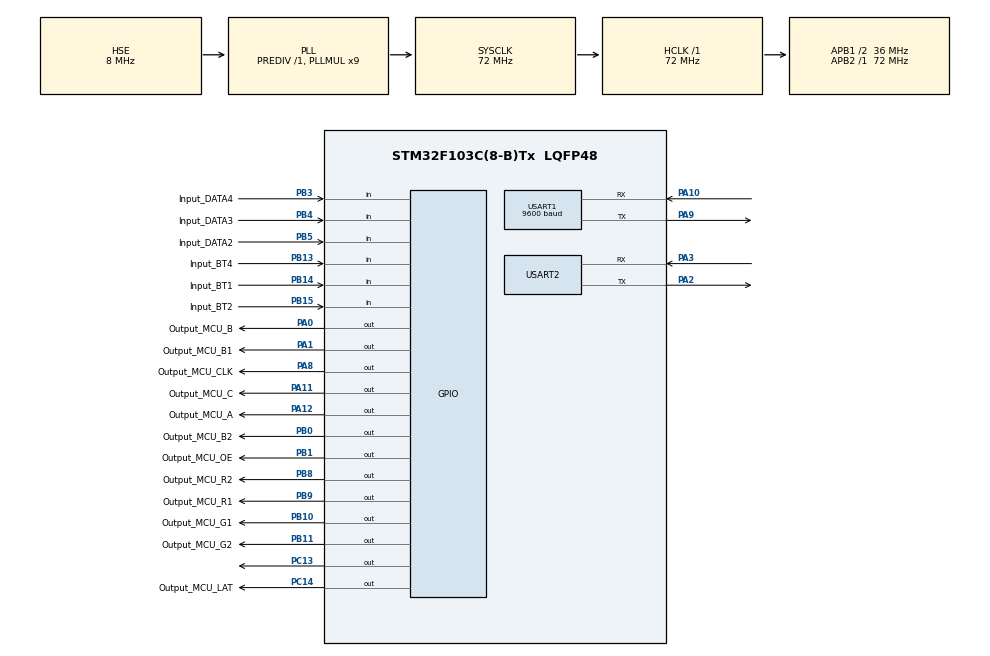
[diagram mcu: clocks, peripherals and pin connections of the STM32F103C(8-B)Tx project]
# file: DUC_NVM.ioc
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Mcu.Family=STM32F1
Mcu.Name=STM32F103C(8-B)Tx
Mcu.Package=LQFP48
NVIC.PriorityGroup=NVIC_PRIORITYGROUP_4
NVIC.TIM2_IRQn=true\:1\:0\:true\:false\:true\:true\:true\:true
PA0-WKUP.GPIO_Label=Output_MCU_B
PA0-WKUP.Signal=GPIO_Output
PA1.GPIO_Label=Output_MCU_B1
PA1.Signal=GPIO_Output
PA10.Mode=Asynchronous
PA10.Signal=USART1_RX
PA11.GPIO_Label=Output_MCU_C
PA11.Signal=GPIO_Output
PA12.GPIO_Label=Output_MCU_A
PA12.Signal=GPIO_Output
PA13.Mode=Serial_Wire
PA13.Signal=SYS_JTMS-SWDIO
PA14.Mode=Serial_Wire
PA14.Signal=SYS_JTCK-SWCLK
PA2.Mode=Asynchronous
PA2.Signal=USART2_TX
PA3.Mode=Asynchronous
PA3.Signal=USART2_RX
PA8.GPIO_Label=Output_MCU_CLK
PA8.Signal=GPIO_Output
PA9.Mode=Asynchronous
PA9.Signal=USART1_TX
PB0.GPIO_Label=Output_MCU_B2
PB0.Signal=GPIO_Output
PB1.GPIO_Label=Output_MCU_OE
PB1.Signal=GPIO_Output
PB10.GPIO_Label=Output_MCU_G1
PB10.Signal=GPIO_Output
PB11.GPIO_Label=Output_MCU_G2
PB11.GPIO_ModeDefaultOutputPP=GPIO_MODE_OUTPUT_PP
PB11.Signal=GPIO_Output
PB13.GPIO_Label=Input_BT4
PB13.GPIO_PuPd=GPIO_NOPULL
PB13.Signal=GPIO_Input
PB14.GPIO_Label=Input_BT1
PB14.GPIO_PuPd=GPIO_NOPULL
PB14.Signal=GPIO_Input
PB15.GPIO_Label=Input_BT2
PB15.GPIO_PuPd=GPIO_NOPULL
PB15.Signal=GPIO_Input
PB3.GPIO_Label=Input_DATA4
PB3.GPIO_PuPd=GPIO_NOPULL
PB3.Signal=GPIO_Input
PB4.GPIO_Label=Input_DATA3
PB4.GPIO_PuPd=GPIO_NOPULL
PB4.Signal=GPIO_Input
PB5.GPIO_Label=Input_DATA2
PB5.GPIO_PuPd=GPIO_NOPULL
PB5.Signal=GPIO_Input
PB8.GPIO_Label=Output_MCU_R2
PB8.Signal=GPIO_Output
PB9.GPIO_Label=Output_MCU_R1
PB9.Signal=GPIO_Output
PC13-TAMPER-RTC.Signal=GPIO_Output
PC14-OSC32_IN.GPIO_Label=Output_MCU_LAT
PC14-OSC32_IN.Signal=GPIO_Output
PD0-OSC_IN.Mode=HSE-External-Oscillator
PD0-OSC_IN.Signal=RCC_OSC_IN
PD1-OSC_OUT.Mode=HSE-External-Oscillator
PD1-OSC_OUT.Signal=RCC_OSC_OUT
ProjectManager.HeapSize=0x200
ProjectManager.StackSize=0x400
ProjectManager.TargetToolchain=MDK-ARM V5.27
RCC.AHBFreq_Value=72000000
RCC.APB1CLKDivider=RCC_HCLK_DIV2
RCC.APB1Freq_Value=36000000
RCC.APB1TimFreq_Value=72000000
RCC.APB2Freq_Value=72000000
RCC.APB2TimFreq_Value=72000000
RCC.HCLKFreq_Value=72000000
RCC.PLLMUL=RCC_PLL_MUL9
RCC.PLLSourceVirtual=RCC_PLLSOURCE_HSE
RCC.SYSCLKFreq_VALUE=72000000
RCC.SYSCLKSource=RCC_SYSCLKSOURCE_PLLCLK
RCC.USBFreq_Value=72000000
TIM2.Period=9
TIM2.Prescaler=7199
USART1.BaudRate=9600
USART1.VirtualMode=VM_ASYNC
USART2.VirtualMode=VM_ASYNC
VP_TIM2_VS_ClockSourceINT.Mode=Internal
board=custom

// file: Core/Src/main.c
/* USER CODE BEGIN Header */
/**
  ******************************************************************************
  * @file           : main.c
  * @brief          : Main program body
  ******************************************************************************
  * @attention
  *
  * Copyright (c) 2024 STMicroelectronics.
  * All rights reserved.
  *
  * This software is licensed under terms that can be found in the LICENSE file
  * in the root directory of this software component.
  * If no LICENSE file comes with this software, it is provided AS-IS.
  *
  ******************************************************************************
  */
/* USER CODE END Header */
#include "main.h"

/* USER CODE BEGIN Includes */
#include "JQ8400_FL.h"
#include "bsp.h"
#include "apl.h"
#include "displayDriver.h"
#include "flash.h"

/* USER CODE END Includes */

TIM_HandleTypeDef htim2;

UART_HandleTypeDef huart1;
UART_HandleTypeDef huart2;

/* USER CODE BEGIN PV */
uint32_t g_systick_1ms = 0U;
static uint32_t g_10ms_flg = 1U;
static uint32_t g_100ms_flg = 1U;
extern uint8_t BSP_DIN_short[7];
/* USER CODE END PV */

void SystemClock_Config(void);
static void MX_GPIO_Init(void);
static void MX_USART1_UART_Init(void);
static void MX_TIM2_Init(void);
static void MX_USART2_UART_Init(void);

/* USER CODE BEGIN 0 */
JQ8400_Name MP3;
uint8_t ver[10] = "0.1";
int fNum = 0 ;

void HAL_TIM_PeriodElapsedCallback(TIM_HandleTypeDef *htim)
{
	static uint32_t cnt_10ms = 0U, cnt_100ms = 0U;
	UNUSED(htim);
	//Process
	#if (REFRESH_MODE==1)
	if(htim->Instance==TIM2)
	{
		HAL_TIM_Base_Stop_IT(&htim2);
		refreshDisplay();
		HAL_TIM_Base_Start_IT(&htim2);
	}
#endif
	g_systick_1ms++;
	 // Update 10ms:
        if (++cnt_10ms >= 10U) {
            cnt_10ms = 0U;
            g_10ms_flg = 1U;
            // Update 100ms:
            if (++cnt_100ms >= 10U) {
                cnt_100ms = 0U;
                g_100ms_flg = 1U;
						}
					}
}

/* USER CODE END 0 */

int main(void)
{

  /* MCU Configuration--------------------------------------------------------*/

  /* Reset of all peripherals, Initializes the Flash interface and the Systick. */
  HAL_Init();

  /* Configure the system clock */
  SystemClock_Config();

  /* Initialize all configured peripherals */
  MX_GPIO_Init();
  MX_USART1_UART_Init();
  MX_TIM2_Init();
  MX_USART2_UART_Init();
  /* USER CODE BEGIN 2 */
	HAL_TIM_Base_Start_IT(&htim2);
	BSP_din_init();
	APL_init();
	JQ8400_Init(&MP3,&huart1);
	JQ8400_SetVolume(&MP3,28);
//		#if (REFRESH_MODE==1)
//  htim2.Init.Period = 8329;  // thay doi de co tan so ngat la 120Hz
//  HAL_TIM_Base_Init(&htim2);
//  HAL_TIM_Base_Start_IT(&htim2);
//	#endif
//	HAL_UART_Transmit(&huart1,(uint8_t*) button8_short, sizeof(button8_short), 1000);
  /* USER CODE END 2 */

  /* Infinite loop */
  while (1)
  {

    /* USER CODE BEGIN 3 */
		if(g_10ms_flg==1)
		{

			g_10ms_flg=0;
		}
		APL_Manager();

//		JQ8400_PlaySong(&MP3,10);
//		HAL_Delay(5000);

  }
  /* USER CODE END 3 */
}

void SystemClock_Config(void)
{
  RCC_OscInitTypeDef RCC_OscInitStruct = {0};
  RCC_ClkInitTypeDef RCC_ClkInitStruct = {0};

  /** Initializes the RCC Oscillators according to the specified parameters
  * in the RCC_OscInitTypeDef structure.
  */
  RCC_OscInitStruct.OscillatorType = RCC_OSCILLATORTYPE_HSE;
  RCC_OscInitStruct.HSEState = RCC_HSE_ON;
  RCC_OscInitStruct.HSEPredivValue = RCC_HSE_PREDIV_DIV1;
  RCC_OscInitStruct.HSIState = RCC_HSI_ON;
  RCC_OscInitStruct.PLL.PLLState = RCC_PLL_ON;
  RCC_OscInitStruct.PLL.PLLSource = RCC_PLLSOURCE_HSE;
  RCC_OscInitStruct.PLL.PLLMUL = RCC_PLL_MUL9;
  if (HAL_RCC_OscConfig(&RCC_OscInitStruct) != HAL_OK)
  {
    Error_Handler();
  }

  /** Initializes the CPU, AHB and APB buses clocks
  */
  RCC_ClkInitStruct.ClockType = RCC_CLOCKTYPE_HCLK|RCC_CLOCKTYPE_SYSCLK
                              |RCC_CLOCKTYPE_PCLK1|RCC_CLOCKTYPE_PCLK2;
  RCC_ClkInitStruct.SYSCLKSource = RCC_SYSCLKSOURCE_PLLCLK;
  RCC_ClkInitStruct.AHBCLKDivider = RCC_SYSCLK_DIV1;
  RCC_ClkInitStruct.APB1CLKDivider = RCC_HCLK_DIV2;
  RCC_ClkInitStruct.APB2CLKDivider = RCC_HCLK_DIV1;

  if (HAL_RCC_ClockConfig(&RCC_ClkInitStruct, FLASH_LATENCY_2) != HAL_OK)
  {
    Error_Handler();
  }
}

static void MX_TIM2_Init(void)
{

  TIM_ClockConfigTypeDef sClockSourceConfig = {0};
  TIM_MasterConfigTypeDef sMasterConfig = {0};

  htim2.Instance = TIM2;
  htim2.Init.Prescaler = 7199;
  htim2.Init.CounterMode = TIM_COUNTERMODE_UP;
  htim2.Init.Period = 9;
  htim2.Init.ClockDivision = TIM_CLOCKDIVISION_DIV1;
  htim2.Init.AutoReloadPreload = TIM_AUTORELOAD_PRELOAD_DISABLE;
  if (HAL_TIM_Base_Init(&htim2) != HAL_OK)
  {
    Error_Handler();
  }
  sClockSourceConfig.ClockSource = TIM_CLOCKSOURCE_INTERNAL;
  if (HAL_TIM_ConfigClockSource(&htim2, &sClockSourceConfig) != HAL_OK)
  {
    Error_Handler();
  }
  sMasterConfig.MasterOutputTrigger = TIM_TRGO_RESET;
  sMasterConfig.MasterSlaveMode = TIM_MASTERSLAVEMODE_DISABLE;
  if (HAL_TIMEx_MasterConfigSynchronization(&htim2, &sMasterConfig) != HAL_OK)
  {
    Error_Handler();
  }

}

static void MX_USART1_UART_Init(void)
{

  huart1.Instance = USART1;
  huart1.Init.BaudRate = 9600;
  huart1.Init.WordLength = UART_WORDLENGTH_8B;
  huart1.Init.StopBits = UART_STOPBITS_1;
  huart1.Init.Parity = UART_PARITY_NONE;
  huart1.Init.Mode = UART_MODE_TX_RX;
  huart1.Init.HwFlowCtl = UART_HWCONTROL_NONE;
  huart1.Init.OverSampling = UART_OVERSAMPLING_16;
  if (HAL_UART_Init(&huart1) != HAL_OK)
  {
    Error_Handler();
  }

}

static void MX_USART2_UART_Init(void)
{

  huart2.Instance = USART2;
  huart2.Init.BaudRate = 115200;
  huart2.Init.WordLength = UART_WORDLENGTH_8B;
  huart2.Init.StopBits = UART_STOPBITS_1;
  huart2.Init.Parity = UART_PARITY_NONE;
  huart2.Init.Mode = UART_MODE_TX_RX;
  huart2.Init.HwFlowCtl = UART_HWCONTROL_NONE;
  huart2.Init.OverSampling = UART_OVERSAMPLING_16;
  if (HAL_UART_Init(&huart2) != HAL_OK)
  {
    Error_Handler();
  }

}

static void MX_GPIO_Init(void)
{
  GPIO_InitTypeDef GPIO_InitStruct = {0};

  /* GPIO Ports Clock Enable */
  __HAL_RCC_GPIOC_CLK_ENABLE();
  __HAL_RCC_GPIOD_CLK_ENABLE();
  __HAL_RCC_GPIOA_CLK_ENABLE();
  __HAL_RCC_GPIOB_CLK_ENABLE();

  /*Configure GPIO pin Output Level */
  HAL_GPIO_WritePin(GPIOC, GPIO_PIN_13|Output_MCU_LAT_Pin, GPIO_PIN_RESET);

  /*Configure GPIO pin Output Level */
  HAL_GPIO_WritePin(GPIOA, Output_MCU_B_Pin|Output_MCU_B1_Pin|Output_MCU_CLK_Pin|Output_MCU_C_Pin
                          |Output_MCU_A_Pin, GPIO_PIN_RESET);

  /*Configure GPIO pin Output Level */
  HAL_GPIO_WritePin(GPIOB, Output_MCU_B2_Pin|Output_MCU_OE_Pin|Output_MCU_G1_Pin|Output_MCU_G2_Pin
                          |Output_MCU_R2_Pin|Output_MCU_R1_Pin, GPIO_PIN_RESET);

  /*Configure GPIO pins : PC13 Output_MCU_LAT_Pin */
  GPIO_InitStruct.Pin = GPIO_PIN_13|Output_MCU_LAT_Pin;
  GPIO_InitStruct.Mode = GPIO_MODE_OUTPUT_PP;
  GPIO_InitStruct.Pull = GPIO_NOPULL;
  GPIO_InitStruct.Speed = GPIO_SPEED_FREQ_LOW;
  HAL_GPIO_Init(GPIOC, &GPIO_InitStruct);

  /*Configure GPIO pins : Output_MCU_B_Pin Output_MCU_B1_Pin Output_MCU_CLK_Pin Output_MCU_C_Pin
                           Output_MCU_A_Pin */
  GPIO_InitStruct.Pin = Output_MCU_B_Pin|Output_MCU_B1_Pin|Output_MCU_CLK_Pin|Output_MCU_C_Pin
                          |Output_MCU_A_Pin;
  GPIO_InitStruct.Mode = GPIO_MODE_OUTPUT_PP;
  GPIO_InitStruct.Pull = GPIO_NOPULL;
  GPIO_InitStruct.Speed = GPIO_SPEED_FREQ_LOW;
  HAL_GPIO_Init(GPIOA, &GPIO_InitStruct);

  /*Configure GPIO pins : Output_MCU_B2_Pin Output_MCU_OE_Pin Output_MCU_G1_Pin Output_MCU_G2_Pin
                           Output_MCU_R2_Pin Output_MCU_R1_Pin */
  GPIO_InitStruct.Pin = Output_MCU_B2_Pin|Output_MCU_OE_Pin|Output_MCU_G1_Pin|Output_MCU_G2_Pin
                          |Output_MCU_R2_Pin|Output_MCU_R1_Pin;
  GPIO_InitStruct.Mode = GPIO_MODE_OUTPUT_PP;
  GPIO_InitStruct.Pull = GPIO_NOPULL;
  GPIO_InitStruct.Speed = GPIO_SPEED_FREQ_LOW;
  HAL_GPIO_Init(GPIOB, &GPIO_InitStruct);

  /*Configure GPIO pins : Input_BT4_Pin Input_BT1_Pin Input_BT2_Pin Input_DATA4_Pin
                           Input_DATA3_Pin Input_DATA2_Pin */
  GPIO_InitStruct.Pin = Input_BT4_Pin|Input_BT1_Pin|Input_BT2_Pin|Input_DATA4_Pin
                          |Input_DATA3_Pin|Input_DATA2_Pin;
  GPIO_InitStruct.Mode = GPIO_MODE_INPUT;
  GPIO_InitStruct.Pull = GPIO_NOPULL;
  HAL_GPIO_Init(GPIOB, &GPIO_InitStruct);

}

void Error_Handler(void)
{
  __disable_irq();
  while (1)
  {
  }
}
